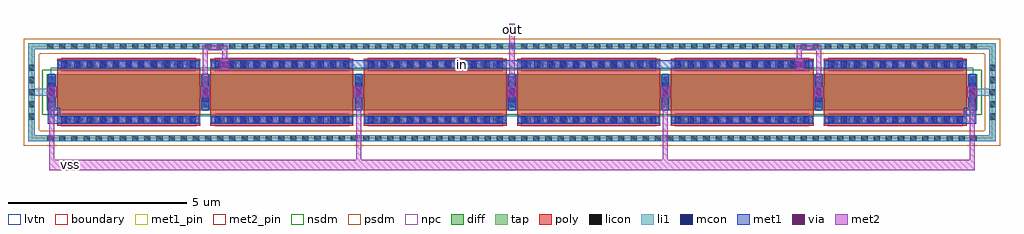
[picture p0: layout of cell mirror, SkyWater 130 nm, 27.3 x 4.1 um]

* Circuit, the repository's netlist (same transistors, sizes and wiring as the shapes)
* SPDX-License-Identifier: Apache-2.0
* Copyright 2026 Mauro Rodriguez Blasco
*
* First layout exercise: the comparator's NMOS mirror load (XM3, XM4), one unit w=1 l=4 and
* two units each, as one 6-finger device with its guard ring, in the order D B A A B D: B is
* XM4 (the diode, in), A is XM3 (the output, out), D a dummy. The fingers share diffusion, so
* a dummy's outer strip goes to vss and its inner one is shared with B's drain, in: a node of
* low impedance, where a dummy does no harm (next to A it would load out).
* Diffusion strips, left to right: vss in vss out vss in vss. Gates: vss in in in in vss.
* Guard ring (the body): vss. Reference for LVS (scripts/flow.py lvs mirror); Netgen merges
* the fingers in parallel and ignores mult.
.subckt mirror in out vss
XM3 out in vss vss sky130_fd_pr__nfet_01v8_lvt w=1 l=4 mult=2 m=2
XM4 in in vss vss sky130_fd_pr__nfet_01v8_lvt w=1 l=4 mult=2 m=2
XMD in vss vss vss sky130_fd_pr__nfet_01v8_lvt w=1 l=4 mult=2 m=2
.ends mirror

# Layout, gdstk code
import gdstk
lib = gdstk.Library(unit=1e-6, precision=1e-09)
def R(c, l, rs):  # rectangles x0, y0, x1, y1
    for r in rs: c.add(gdstk.rectangle(r[:2], r[2:], *l))
def A(c, l, x, y, w, h, nx, ny, dx, dy):  # array of equal rectangles
    R(c, l, [(x+i*dx, y+j*dy, x+i*dx+w, y+j*dy+h) for i in range(nx) for j in range(ny)])
diff = (65, 20)
tap = (65, 44)
poly = (66, 20)
licon = (66, 44)
li1 = (67, 20)
mcon = (67, 44)
met1_pin = (68, 16)
met1 = (68, 20)
via = (68, 44)
met2_pin = (69, 16)
met2 = (69, 20)
nsdm = (93, 44)
psdm = (94, 20)
npc = (95, 20)
lvtn = (125, 44)
boundary = (235, 4)

sky130_fd_pr__nfet_01v8_ = lib.new_cell('sky130_fd_pr__nfet_01v8_lvt_J7S5NG')
R(sky130_fd_pr__nfet_01v8_, diff, [(-13.015,-0.5,13.015,0.5)])
R(sky130_fd_pr__nfet_01v8_, tap, [(-13.525,-1.37,13.525,-1.2), (-13.525,-1.2,-13.355,1.2), (13.355,-1.2,13.525,1.2), (-13.525,1.2,13.525,1.37)])
A(sky130_fd_pr__nfet_01v8_, poly, -12.725, -0.94, 4, 1.88, 6, 1, 4.29, 0)
A(sky130_fd_pr__nfet_01v8_, licon, -13.005, -1.37, 0.17, 0.17, 77, 2, 0.34, 2.57)
A(sky130_fd_pr__nfet_01v8_, licon, -12.51, -0.86, 0.17, 0.17, 11, 2, 0.34, 1.55)
A(sky130_fd_pr__nfet_01v8_, licon, -8.22, -0.86, 0.17, 0.17, 11, 2, 0.34, 1.55)
A(sky130_fd_pr__nfet_01v8_, licon, -3.93, -0.86, 0.17, 0.17, 11, 2, 0.34, 1.55)
A(sky130_fd_pr__nfet_01v8_, licon, 0.36, -0.86, 0.17, 0.17, 11, 2, 0.34, 1.55)
A(sky130_fd_pr__nfet_01v8_, licon, 4.65, -0.86, 0.17, 0.17, 11, 2, 0.34, 1.55)
A(sky130_fd_pr__nfet_01v8_, licon, 8.94, -0.86, 0.17, 0.17, 11, 2, 0.34, 1.55)
A(sky130_fd_pr__nfet_01v8_, licon, -13.525, -0.765, 0.17, 0.17, 1, 5, 0, 0.34)
A(sky130_fd_pr__nfet_01v8_, licon, 13.355, -0.765, 0.17, 0.17, 1, 5, 0, 0.34)
A(sky130_fd_pr__nfet_01v8_, licon, -12.955, -0.425, 0.17, 0.17, 7, 3, 4.29, 0.34)
A(sky130_fd_pr__nfet_01v8_, li1, -12.725, -0.86, 4, 0.17, 6, 2, 4.29, 1.55)
A(sky130_fd_pr__nfet_01v8_, li1, -12.955, -0.52, 0.17, 1.04, 7, 1, 4.29, 0)
R(sky130_fd_pr__nfet_01v8_, li1, [(-13.525,-1.37,13.525,-1.2), (-13.525,-1.2,-13.355,1.2), (13.355,-1.2,13.525,1.2), (-13.525,1.2,13.525,1.37)])
A(sky130_fd_pr__nfet_01v8_, mcon, -12.61, -0.86, 0.17, 0.17, 11, 2, 0.36, 1.55)
A(sky130_fd_pr__nfet_01v8_, mcon, -8.32, -0.86, 0.17, 0.17, 11, 2, 0.36, 1.55)
A(sky130_fd_pr__nfet_01v8_, mcon, -4.03, -0.86, 0.17, 0.17, 11, 2, 0.36, 1.55)
A(sky130_fd_pr__nfet_01v8_, mcon, 0.26, -0.86, 0.17, 0.17, 11, 2, 0.36, 1.55)
A(sky130_fd_pr__nfet_01v8_, mcon, 4.55, -0.86, 0.17, 0.17, 11, 2, 0.36, 1.55)
A(sky130_fd_pr__nfet_01v8_, mcon, 8.84, -0.86, 0.17, 0.17, 11, 2, 0.36, 1.55)
A(sky130_fd_pr__nfet_01v8_, mcon, -12.955, -0.265, 0.17, 0.17, 7, 2, 4.29, 0.36)
A(sky130_fd_pr__nfet_01v8_, met1, -12.705, -0.89, 3.96, 0.23, 6, 2, 4.29, 1.55)
A(sky130_fd_pr__nfet_01v8_, met1, -12.985, -0.5, 0.23, 1, 7, 1, 4.29, 0)
R(sky130_fd_pr__nfet_01v8_, nsdm, [(-13.14,-0.625,13.14,0.625)])
R(sky130_fd_pr__nfet_01v8_, psdm, [(-13.65,-1.495,13.65,-1.075), (-13.65,-1.075,-13.23,1.075), (13.23,-1.075,13.65,1.075), (-13.65,1.075,13.65,1.495)])
A(sky130_fd_pr__nfet_01v8_, npc, -12.61, -0.96, 3.77, 0.37, 6, 2, 4.29, 1.55)
R(sky130_fd_pr__nfet_01v8_, lvtn, [(-12.905,-0.68,12.905,0.68)])
R(sky130_fd_pr__nfet_01v8_, boundary, [(-13.44,-1.285,13.44,1.285)])
sky130_fd_pr__nfet_01v8_.add(gdstk.Label('B', (0,-1.285), layer=67, texttype=5))
sky130_fd_pr__nfet_01v8_.add(gdstk.Label('D0', (-12.87,0), layer=67, texttype=5))
sky130_fd_pr__nfet_01v8_.add(gdstk.Label('G0', (-10.725,0.775), layer=67, texttype=5))
sky130_fd_pr__nfet_01v8_.add(gdstk.Label('S1', (-8.58,0), layer=67, texttype=5))
sky130_fd_pr__nfet_01v8_.add(gdstk.Label('G1', (-6.435,0.775), layer=67, texttype=5))
sky130_fd_pr__nfet_01v8_.add(gdstk.Label('D2', (-4.29,0), layer=67, texttype=5))
sky130_fd_pr__nfet_01v8_.add(gdstk.Label('G2', (-2.145,0.775), layer=67, texttype=5))
sky130_fd_pr__nfet_01v8_.add(gdstk.Label('S3', (0,0), layer=67, texttype=5))
sky130_fd_pr__nfet_01v8_.add(gdstk.Label('G3', (2.145,0.775), layer=67, texttype=5))
sky130_fd_pr__nfet_01v8_.add(gdstk.Label('D4', (4.29,0), layer=67, texttype=5))
sky130_fd_pr__nfet_01v8_.add(gdstk.Label('G4', (6.435,0.775), layer=67, texttype=5))
sky130_fd_pr__nfet_01v8_.add(gdstk.Label('S5', (8.58,0), layer=67, texttype=5))
sky130_fd_pr__nfet_01v8_.add(gdstk.Label('G5', (10.725,0.775), layer=67, texttype=5))

mirror = lib.new_cell('mirror')
R(mirror, li1, [(-0.085,1.185,0.6,1.385), (26.28,1.185,26.965,1.385)])
R(mirror, met1_pin, [(12,2,12.1,2.1)])
A(mirror, met1, 0.44, 1.125, 0.26, 0.32, 7, 1, 4.29, 0)
R(mirror, met1, [(0.455,0.395,0.8,0.85), (26.08,0.395,26.425,0.85), (5.27,1.9,5.53,1.945), (21.35,1.9,21.61,1.945), (5.025,1.945,21.855,2.175), (5.27,2.175,5.53,2.22), (21.35,2.175,21.61,2.22)])
A(mirror, via, 0.495, 1.21, 0.15, 0.15, 7, 1, 4.29, 0)
R(mirror, via, [(5.325,1.985,5.475,2.135), (21.405,1.985,21.555,2.135)])
R(mirror, met2_pin, [(1,-0.85,1.2,-0.65), (13.4,3,13.48,3.1)])
A(mirror, met2, 0.5, -0.6, 0.14, 1.725, 4, 1, 8.58, 0)
A(mirror, met2, 0.44, 1.125, 0.26, 0.32, 7, 1, 4.29, 0)
R(mirror, met2, [(0.5,-0.9,26.38,-0.6), (4.79,1.445,4.93,2.46), (13.37,1.445,13.51,3.2), (21.95,1.445,22.09,2.46), (5.27,1.9,5.53,2.22), (21.35,1.9,21.61,2.22), (5.33,2.22,5.47,2.46), (21.41,2.22,21.55,2.46), (4.79,2.46,5.47,2.6), (21.41,2.46,22.09,2.6)])
mirror.add(gdstk.Reference(sky130_fd_pr__nfet_01v8_, (13.44,1.285)))
mirror.add(gdstk.Label('vss', (1.1,-0.75), layer=69, texttype=5))
mirror.add(gdstk.Label('out', (13.44,3.05), layer=69, texttype=5))
mirror.add(gdstk.Label('in', (12.05,2.05), layer=68, texttype=5))

lib.write_gds('mirror.gds')
